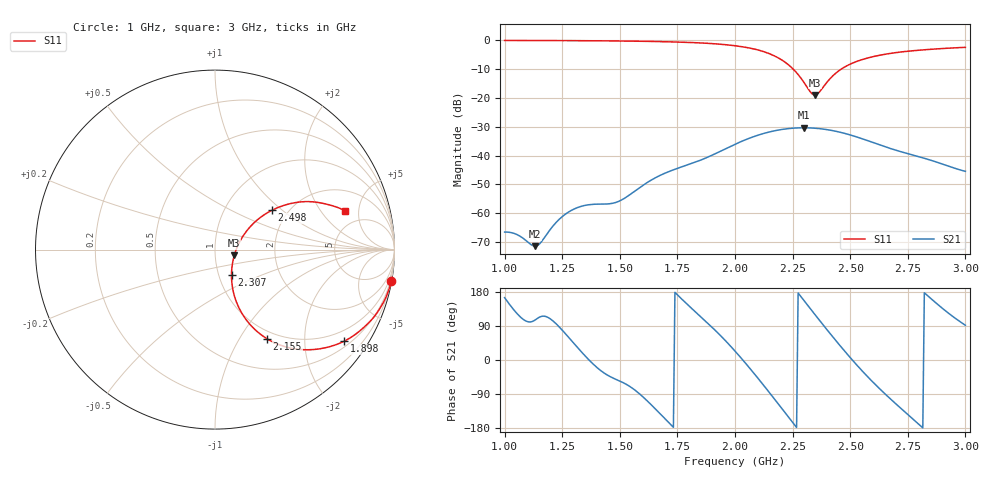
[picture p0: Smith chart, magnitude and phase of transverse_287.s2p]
! TOUCHSTONE file generated by CST MICROWAVE STUDIO
! Date and time: Tue Mar 11 13:58:27 2025
! Project name: transverse.cst
! Parameters = {Fracture=1; B=12.5; D=160; F=25; Feed=2.85625; L=100; M=30; R=0.384908; S=2; Theta=270; length=57.125; wave=114.25}
! Header version: 2024
! Port assignment regex: !\s*Touchstone port\s*([0-9]+)\s*=\s*(CST MWS port|CST DES external port|CST DES block port)\s*(.+)\s* \(\"(.*)\"\)(\s*mode\s*([0-9]+))?.*
! Touchstone port assignment:
! Touchstone port 1 = CST MWS port 1 ("")
! Touchstone port 2 = CST MWS port 2 ("")
# GHz S MA R 50
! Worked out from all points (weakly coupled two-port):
!   304 points, 1 GHz to 3 GHz, reference 50 ohm
!   highest |S21| = -30.36 dB at 2.3 GHz (marker M1); lowest = -71.5 dB at 1.132 GHz (marker M2)
!   lowest |S11| = -19.0 dB at 2.347 GHz (marker M3), VSWR 1.25, Z = 61.9 - j3.92 ohm
!   |S11| at or under -10 dB: 2.253 GHz to 2.461 GHz (207.7 MHz wide, 8.81 % of centre)
!   S12 and S22 are empty: the file has one direction only
!   S11 on the Smith chart (normalised r, x): 1 GHz: 0, -11; 1.898 GHz: 0.65, -3.00; 2.155 GHz: 0.89, -1.32; 2.307 GHz: 1.15, -0.33; 2.498 GHz: 1.65, +0.85; 3 GHz: 3.52, +3.56
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1  0.9975 -10.0  0.0004685 164.5  0 0.0  0 0.0
1.05281  0.9971 -10.7  0.0004259 123.3  0 0.0  0 0.0
1.13201  0.9959 -12.0  0.0002666 105.4  0 0.0  0 0.0
1.15182  0.9954 -12.3  0.0002927 113.2  0 0.0  0 0.0
1.21122  0.9933 -13.3  0.0006055 102.4  0 0.0  0 0.0
1.25083  0.9919 -13.9  0.0008741 78.3  0 0.0  0 0.0
1.33663  0.9887 -15.6  0.001326 19.2  0 0.0  0 0.0
1.48845  0.9776 -19.0  0.001561 -52.5  0 0.0  0 0.0
1.66667  0.9544 -24.4  0.004356 -136.7  0 0.0  0 0.0
1.89769  0.8815 -35.4  0.01002 88.0  0 0.0  0 0.0
2.0033  0.8044 -43.4  0.01591 21.4  0 0.0  0 0.0
2.15512  0.5747 -59.8  0.02604 -90.4  0 0.0  0 0.0
2.23432  0.3701 -67.4  0.02945 -152.2  0 0.0  0 0.0
2.30033  0.1837 -59.9  0.03035 156.1  0 0.0  0 0.0
2.30693  0.1675 -56.7  0.03034 151.0  0 0.0  0 0.0
2.33993  0.1141 -25.2  0.02997 125.3  0 0.0  0 0.0
2.34653  0.1122 -16.2  0.02984 120.2  0 0.0  0 0.0
2.36634  0.1268 8.2  0.02934 105.0  0 0.0  0 0.0
2.43234  0.259 34.3  0.02667 55.2  0 0.0  0 0.0
2.49835  0.3841 34.7  0.0229 7.6  0 0.0  0 0.0
2.66997  0.591 26.9  0.01344 -100.1  0 0.0  0 0.0
3  0.7578 16.5  0.005321 91.6  0 0.0  0 0.0
